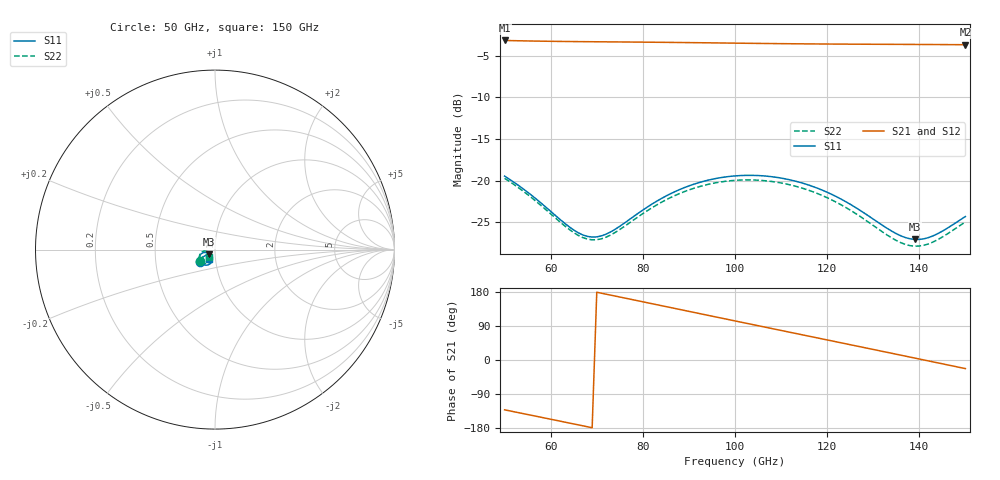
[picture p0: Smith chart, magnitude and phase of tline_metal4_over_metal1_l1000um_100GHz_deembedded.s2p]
! Created with skrf 2.0.1 (http://scikit-rf.org).
# GHz S DB R 50.0
!freq dBS11 angS11 dBS21 angS21 dBS12 angS12 dBS22 angS22
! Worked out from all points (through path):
!   101 points, 50 GHz to 150 GHz, reference 50 ohm
!   highest |S21| = -3.18 dB at 50 GHz (marker M1); lowest = -3.7 dB at 150 GHz (marker M2)
!   group delay of S21, straight-line fit = 6.98 ps
!   lowest |S11| = -27.1 dB at 139 GHz (marker M3), VSWR 1.09, Z = 46.5 - j2.41 ohm
!   |S11| at or under -10 dB: start of sweep to end of sweep
!   |S22| runs from -27.9 to -19.7 dB; largest |S21 - S12| = 7.9e-14
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50  -19.46 -140.3  -3.18 -131.5  -3.18 -131.5  -19.72 -141.7
55  -21.39 -146.8  -3.24 -143.9  -3.24 -143.9  -21.67 -148.5
59  -23.20 -148.3  -3.27 -153.8  -3.27 -153.8  -23.50 -150.3
64  -25.53 -142.7  -3.31 -166.2  -3.31 -166.2  -25.84 -145.1
67  -26.52 -134.2  -3.32 -173.7  -3.32 -173.7  -26.84 -136.9
69  -26.77 -127.1  -3.33 -178.7  -3.33 -178.7  -27.10 -130.1
72  -26.42 -116.8  -3.34 173.7  -3.34 173.7  -26.78 -120.1
78  -24.30 -106.2  -3.37 158.6  -3.37 158.6  -24.71 -109.9
84  -22.15 -107.4  -3.40 143.5  -3.40 143.5  -22.60 -111.5
92  -20.26 -117.2  -3.45 123.3  -3.45 123.3  -20.76 -121.9
96  -19.72 -123.6  -3.47 113.2  -3.47 113.2  -20.24 -128.6
100  -19.43 -130.3  -3.50 103.1  -3.50 103.1  -19.96 -135.6
104  -19.37 -137.2  -3.53 93.1  -3.53 93.1  -19.92 -142.8
108  -19.53 -143.9  -3.55 83.0  -3.55 83.0  -20.10 -149.8
112  -19.91 -150.3  -3.57 73.0  -3.57 73.0  -20.51 -156.6
117  -20.72 -157.5  -3.59 60.5  -3.59 60.5  -21.35 -164.1
126  -23.16 -165.0  -3.62 37.9  -3.62 37.9  -23.88 -172.2
134  -26.05 -158.5  -3.64 17.7  -3.64 17.7  -26.86 -165.8
137  -26.83 -150.7  -3.65 10.2  -3.65 10.2  -27.65 -157.8
139  -27.05 -144.4  -3.66 5.1  -3.66 5.1  -27.86 -151.3
143  -26.62 -132.0  -3.67 -5.0  -3.67 -5.0  -27.36 -138.9
150  -24.30 -121.1  -3.69 -22.7  -3.69 -22.7  -24.96 -128.9
